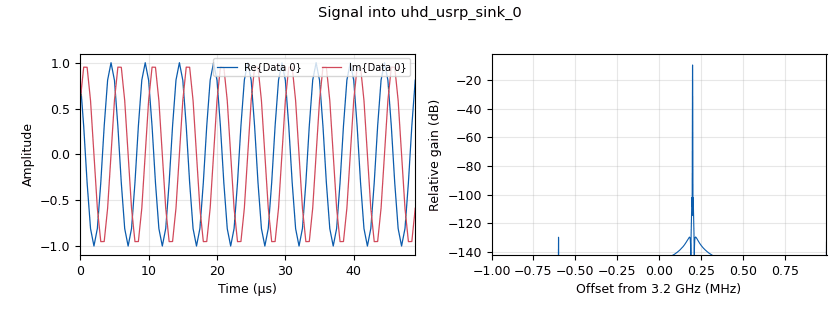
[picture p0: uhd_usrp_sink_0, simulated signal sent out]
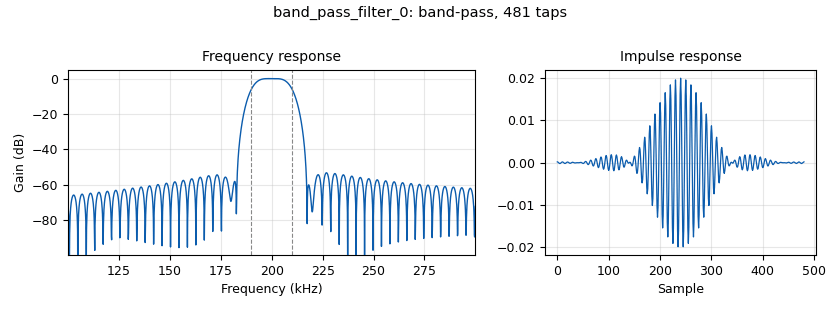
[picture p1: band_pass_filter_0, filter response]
options:
  parameters:
    author: rusty
    generate_options: qt_gui
    id: phaseShift
    output_language: python
    title: Not titled yet
  states: {}

blocks:
- name: freq
  id: variable
  parameters:
    value: 3.3e9
  states: {state: disabled}
- name: freq
  id: variable_qtgui_range
  parameters:
    orient: Qt.Horizontal
    start: 3e9
    step: 10e6
    stop: 4.5e9
    value: 3.2e9
  states: {}
- name: samp_rate
  id: variable
  parameters:
    value: 2e6
  states: {}
- name: analog_sig_source_x_0
  id: analog_sig_source_x
  parameters:
    amp: '1'
    freq: '200000'
    offset: '0'
    phase: '0'
    samp_rate: samp_rate
    type: complex
    waveform: analog.GR_COS_WAVE
  states: {}
- name: band_pass_filter_0
  id: band_pass_filter
  parameters:
    decim: '1'
    gain: '1'
    high_cutoff_freq: 0.21e6
    low_cutoff_freq: 0.19e6
    samp_rate: samp_rate
    type: fir_filter_ccf
    width: 0.01e6
    win: firdes.WIN_HAMMING
  states: {}
- name: blocks_add_xx_0
  id: blocks_add_xx
  parameters:
    type: float
  states: {}
- name: blocks_complex_to_mag_squared_0
  id: blocks_complex_to_mag_squared
  parameters: {}
  states: {}
- name: blocks_complex_to_magphase_0
  id: blocks_complex_to_magphase
  parameters: {}
  states: {}
- name: blocks_complex_to_magphase_0_0
  id: blocks_complex_to_magphase
  parameters: {}
  states: {}
- name: blocks_multiply_const_xx_0
  id: blocks_multiply_const_xx
  parameters:
    const: 180/3.14159
    type: float
  states: {}
- name: blocks_multiply_const_xx_0_0
  id: blocks_multiply_const_xx
  parameters:
    const: '-2*3.14159'
    type: float
  states: {}
- name: blocks_multiply_const_xx_0_1
  id: blocks_multiply_const_xx
  parameters:
    const: 180/3.14159
    type: float
  states: {}
- name: blocks_null_sink_0
  id: blocks_null_sink
  parameters:
    type: complex
  states: {}
- name: blocks_probe_signal_x_0
  id: blocks_probe_signal_x
  parameters:
    type: float
  states: {}
- name: blocks_probe_signal_x_0_0
  id: blocks_probe_signal_x
  parameters:
    type: float
  states: {}
- name: blocks_sub_xx_0
  id: blocks_sub_xx
  parameters:
    type: float
  states: {}
- name: blocks_threshold_ff_0
  id: blocks_threshold_ff
  parameters:
    high: '0'
    init: '0'
    low: '0'
  states: {}
- name: low_pass_filter_0
  id: low_pass_filter
  parameters:
    cutoff_freq: '1200'
    decim: '1'
    gain: '1'
    samp_rate: samp_rate
    type: fir_filter_ccf
    width: '200'
    win: firdes.WIN_HAMMING
  states: {state: disabled}
- name: qtgui_freq_sink_x_0
  id: qtgui_freq_sink_x
  parameters:
    bw: samp_rate
    fc: '0'
    fftsize: '1024'
    type: complex
    wintype: firdes.WIN_BLACKMAN_hARRIS
  states: {}
- name: qtgui_freq_sink_x_0_0
  id: qtgui_freq_sink_x
  parameters:
    bw: samp_rate
    fc: '0'
    fftsize: '1024'
    type: complex
    wintype: firdes.WIN_BLACKMAN_hARRIS
  states: {}
- name: qtgui_time_sink_x_0
  id: qtgui_time_sink_x
  parameters:
    grid: 'True'
    size: '1024'
    srate: samp_rate/10
    type: float
    ymax: '5'
    ymin: '-365'
  states: {}
- name: qtgui_time_sink_x_1
  id: qtgui_time_sink_x
  parameters:
    nconnections: '2'
    size: '1024'
    srate: samp_rate
    type: float
  states: {}
- name: qtgui_time_sink_x_1_0
  id: qtgui_time_sink_x
  parameters:
    nconnections: '2'
    size: '1024'
    srate: samp_rate
    type: float
  states: {}
- name: uhd_usrp_sink_0
  id: uhd_usrp_sink
  parameters:
    ant0: TX/RX
    center_freq0: freq
    dev_args: '""'
    gain0: '30'
    len_tag_name: ''
    norm_gain0: 'False'
    samp_rate: samp_rate
    sync: sync
    type: fc32
  states: {}
- name: uhd_usrp_source_0
  id: uhd_usrp_source
  parameters:
    ant0: RX2
    ant1: RX2
    center_freq0: freq
    center_freq1: freq
    dc_offs_enb0: '""'
    dc_offs_enb1: '""'
    dev_args: '""'
    gain0: '20'
    gain1: '20'
    iq_imbal_enb0: '""'
    iq_imbal_enb1: '""'
    nchan: '2'
    norm_gain0: 'False'
    norm_gain1: 'False'
    samp_rate: samp_rate
    sync: sync
    type: fc32
  states: {}

connections:
- [analog_sig_source_x_0, '0', blocks_complex_to_magphase_0, '0']
- [analog_sig_source_x_0, '0', uhd_usrp_sink_0, '0']
- [band_pass_filter_0, '0', blocks_complex_to_magphase_0_0, '0']
- [band_pass_filter_0, '0', qtgui_freq_sink_x_0, '0']
- [band_pass_filter_0, '0', qtgui_freq_sink_x_0_0, '0']
- [blocks_add_xx_0, '0', blocks_multiply_const_xx_0, '0']
- [blocks_complex_to_mag_squared_0, '0', blocks_probe_signal_x_0_0, '0']
- [blocks_complex_to_magphase_0, '0', qtgui_time_sink_x_1, '0']
- [blocks_complex_to_magphase_0, '1', blocks_sub_xx_0, '0']
- [blocks_complex_to_magphase_0, '1', qtgui_time_sink_x_1_0, '0']
- [blocks_complex_to_magphase_0_0, '0', qtgui_time_sink_x_1, '1']
- [blocks_complex_to_magphase_0_0, '1', blocks_sub_xx_0, '1']
- [blocks_complex_to_magphase_0_0, '1', qtgui_time_sink_x_1_0, '1']
- [blocks_multiply_const_xx_0, '0', qtgui_time_sink_x_0, '0']
- [blocks_multiply_const_xx_0_0, '0', blocks_add_xx_0, '1']
- [blocks_multiply_const_xx_0_1, '0', blocks_probe_signal_x_0, '0']
- [blocks_sub_xx_0, '0', blocks_add_xx_0, '0']
- [blocks_sub_xx_0, '0', blocks_multiply_const_xx_0_1, '0']
- [blocks_sub_xx_0, '0', blocks_threshold_ff_0, '0']
- [blocks_threshold_ff_0, '0', blocks_multiply_const_xx_0_0, '0']
- [low_pass_filter_0, '0', blocks_complex_to_mag_squared_0, '0']
- [low_pass_filter_0, '0', blocks_complex_to_magphase_0_0, '0']
- [low_pass_filter_0, '0', qtgui_freq_sink_x_0, '0']
- [uhd_usrp_source_0, '0', blocks_null_sink_0, '0']
- [uhd_usrp_source_0, '1', band_pass_filter_0, '0']
- [uhd_usrp_source_0, '1', blocks_complex_to_mag_squared_0, '0']
- [uhd_usrp_source_0, '1', low_pass_filter_0, '0']

metadata:
  file_format: 1
